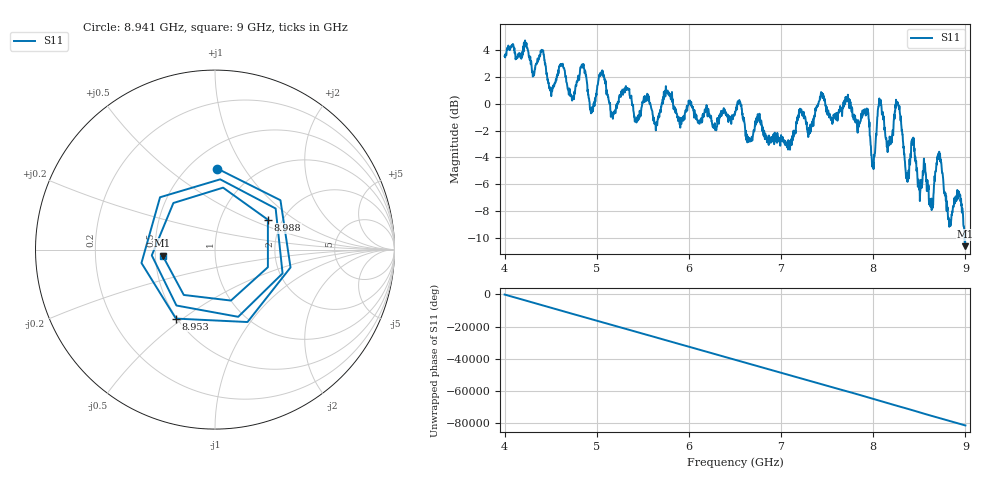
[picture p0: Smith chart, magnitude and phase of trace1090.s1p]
! Created with skrf 1.8.0 (http://scikit-rf.org).
# Hz S RI R 50.0
!freq ReS11 ImS11
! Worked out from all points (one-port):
!   1601 points, 4 GHz to 9 GHz, reference 50 ohm
!   lowest |S11| = -10.6 dB at 9 GHz (marker M1), VSWR 1.83, Z = 27.3 - j1.99 ohm
!   |S11| at or under -10 dB: 8.990372 GHz to end of sweep
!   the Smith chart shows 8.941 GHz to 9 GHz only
!   S11 on the Smith chart (normalised r, x): 8.941 GHz: 0.68, +0.77; 8.953 GHz: 0.49, -0.47; 8.988 GHz: 1.69, +0.63; 9 GHz: 0.55, -0.04
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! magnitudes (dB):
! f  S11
! 4 GHz  3.6
! 4.403 GHz  4.0
! 4.506 GHz  0.6
! 4.625 GHz  2.9
! 4.738 GHz  0.5
! 4.853 GHz  2.8
! 4.944 GHz  -0.7
! 5.05 GHz  2.2
! 5.172 GHz  -0.8
! 5.25 GHz  0.6
! 5.875 GHz  -1.0
! 6.5 GHz  -0.6
! 7.125 GHz  -2.7
! 7.75 GHz  0.1
! 7.928 GHz  -0.3
! 7.997 GHz  -4.4
! 8.066 GHz  0.4
! 8.166 GHz  -3.0
! 8.266 GHz  0.1
! 8.375 GHz  -5.4
! 8.438 GHz  -3.0
! 8.628 GHz  -7.5
! 8.712 GHz  -4.1
! 8.822 GHz  -8.8
! 8.941 GHz  -6.9
! 8.953 GHz  -7.1
! 8.988 GHz  -9.4
! 9 GHz  -10.6
